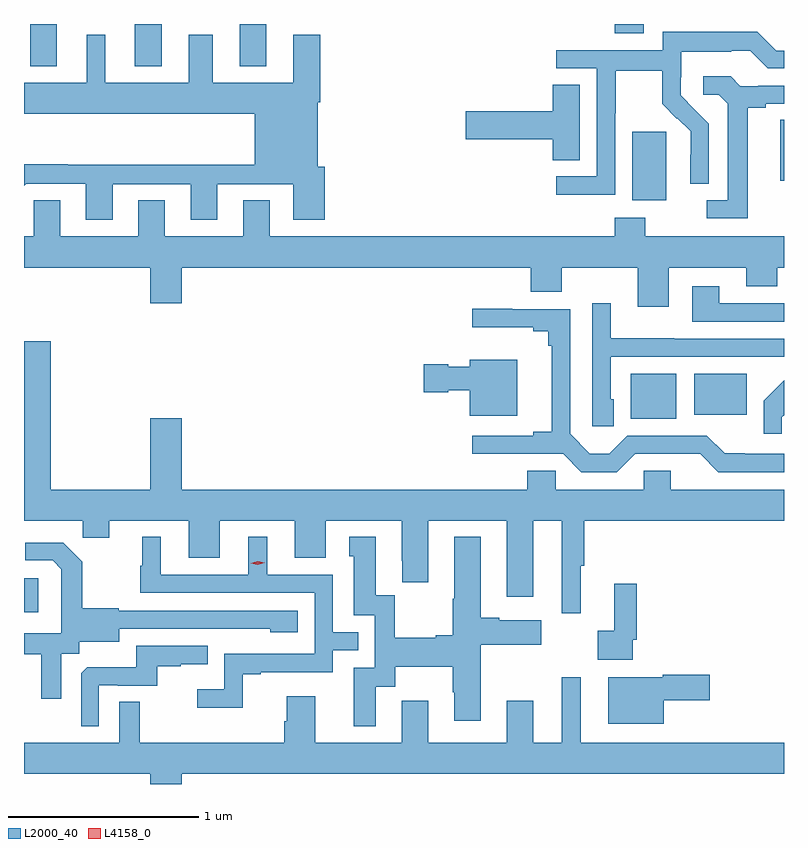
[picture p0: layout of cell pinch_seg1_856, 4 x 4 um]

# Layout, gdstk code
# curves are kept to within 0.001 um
import gdstk
lib = gdstk.Library(unit=1e-6, precision=1e-09)
def R(c, l, rs):  # rectangles x0, y0, x1, y1
    for r in rs: c.add(gdstk.rectangle(r[:2], r[2:], *l))
def A(c, l, x, y, w, h, nx, ny, dx, dy):  # array of equal rectangles
    R(c, l, [(x+i*dx, y+j*dy, x+i*dx+w, y+j*dy+h) for i in range(nx) for j in range(ny)])
def P(c, l, *ps):  # polygons
    for p in ps: c.add(gdstk.Polygon(p, *l))
L2000_40 = (2000, 40)
L4158_0 = (4158, 0)

pinch_seg1_856 = lib.new_cell('pinch_seg1_856')
A(pinch_seg1_856, L2000_40, 619.919, 530.147, 0.14, 0.223, 3, 1, 0.552, 0)
R(pinch_seg1_856, L2000_40, [(619.887,527.274,619.963,527.454), (623.081,528.293,623.32,528.529), (623.414,528.314,623.692,528.529), (623.087,529.442,623.266,529.803), (623.867,529.545,623.887,529.865), (622.997,530.321,623.149,530.37)])
P(pinch_seg1_856, L2000_40, [(622.998,529.9),(623.001,529.9),(623.001,530.124),(623.245,530.124),(623.245,529.949),(623.322,529.872),(623.325,529.875),(623.396,529.805),(623.396,529.682),(623.394,529.682),(623.394,529.528),(623.49,529.528),(623.49,529.846),(623.344,529.994),(623.344,530.091),(623.346,530.091),(623.346,530.225),(623.609,530.225),(623.609,530.229),(623.709,530.229),(623.802,530.136),(623.887,530.136),(623.887,530.229),(623.847,530.229),(623.747,530.329),(623.25,530.329),(623.25,530.232),(622.689,530.232),(622.689,530.136),(622.902,530.136),(622.902,529.569),(622.689,529.569),(622.689,529.471),(622.998,529.471)],
  [(620.353,529.527),(620.765,529.527),(620.765,529.341),(620.905,529.341),(620.905,529.527),(621.305,529.527),(621.305,529.341),(621.47,529.341),(621.47,529.62),(621.433,529.62),(621.433,529.958),(621.446,529.958),(621.446,530.314),(621.305,530.314),(621.305,530.062),(620.881,530.062),(620.881,530.314),(620.753,530.314),(620.753,530.062),(620.314,530.062),(620.314,530.314),(620.216,530.314),(620.216,530.062),(619.887,530.062),(619.887,529.898),(621.101,529.898),(621.101,529.628),(620.117,529.628),(620.117,529.631),(619.887,529.631),(619.887,529.518),(619.899,529.53),(620.213,529.53),(620.213,529.341),(620.353,529.341)],
  [(623.695,529.928),(623.791,529.928),(623.791,529.95),(623.887,529.95),(623.887,530.046),(623.752,530.046),(623.752,530.043),(623.658,530.043),(623.606,530.095),(623.463,530.095),(623.463,529.998),(623.544,529.998),(623.591,529.951),(623.591,529.443),(623.481,529.443),(623.481,529.347),(623.695,529.347)],
  [(622.813,530.051),(622.67,530.051),(622.67,529.91),(622.212,529.91),(622.212,529.763),(622.67,529.763),(622.67,529.654),(622.813,529.654)],
  [(623.281,529.088),(623.687,529.088),(623.687,528.989),(623.851,528.989),(623.851,529.088),(623.887,529.088),(623.887,529.252),(623.157,529.252),(623.157,529.351),(622.997,529.351),(622.997,529.252),(621.181,529.252),(621.181,529.442),(621.041,529.442),(621.041,529.252),(620.629,529.252),(620.629,529.442),(620.489,529.442),(620.489,529.252),(620.077,529.252),(620.077,529.442),(619.938,529.442),(619.938,529.252),(619.887,529.252),(619.887,529.088),(620.552,529.088),(620.552,528.9),(620.716,528.9),(620.716,529.088),(622.553,529.088),(622.553,528.96),(622.717,528.96),(622.717,529.088),(623.117,529.088),(623.117,528.882),(623.281,528.882)],
  [(623.887,528.9),(623.545,528.9),(623.545,528.991),(623.405,528.991),(623.405,528.804),(623.887,528.804)],
  [(622.99,528.396),(622.974,528.396),(622.974,528.618),(623.887,528.618),(623.887,528.714),(623.309,528.714),(623.309,528.715),(622.975,528.715),(622.975,528.901),(622.878,528.901),(622.878,528.253),(622.99,528.253)],
  [(623.103,528.108),(623.447,528.107),(623.541,528.012),(623.887,528.012),(623.887,528.108),(623.68,528.108),(623.68,528.11),(623.576,528.11),(623.481,528.204),(623.061,528.204),(622.966,528.109),(622.865,528.109),(622.761,528.213),(622.761,528.87),(622.457,528.87),(622.457,528.872),(622.245,528.872),(622.245,528.773),(622.568,528.773),(622.568,528.754),(622.645,528.754),(622.645,528.677),(622.664,528.677),(622.664,528.224),(622.568,528.224),(622.568,528.204),(622.245,528.204),(622.245,528.107),(622.724,528.108),(622.82,528.012),(623.007,528.012)],
  [(619.887,528.699),(619.887,527.756),(620.197,527.756),(620.197,527.666),(620.335,527.666),(620.335,527.756),(620.753,527.756),(620.753,527.562),(620.917,527.562),(620.917,527.756),(621.311,527.756),(621.311,527.562),(621.475,527.562),(621.475,527.756),(621.875,527.756),(621.875,527.545),(621.878,527.545),(621.878,527.433),(622.015,527.433),(622.015,527.756),(622.427,527.756),(622.427,527.355),(622.567,527.355),(622.567,527.756),(622.718,527.756),(622.718,527.268),(622.817,527.268),(622.817,527.52),(622.835,527.52),(622.835,527.756),(623.887,527.756),(623.887,527.92),(623.29,527.92),(623.29,528.018),(623.148,528.018),(623.148,527.92),(622.686,527.92),(622.686,528.018),(622.535,528.018),(622.535,527.92),(620.716,527.92),(620.716,528.295),(620.552,528.295),(620.552,527.92),(620.027,527.92),(620.027,528.699)],
  [(622.483,528.604),(622.232,528.604),(622.232,528.565),(622.119,528.565),(622.119,528.578),(621.99,528.578),(621.99,528.431),(622.119,528.431),(622.119,528.443),(622.232,528.443),(622.232,528.308),(622.483,528.308)],
  [(623.876,528.3),(623.887,528.311),(623.887,528.494),(623.781,528.388),(623.781,528.213),(623.876,528.213)],
  [(621.039,526.947),(621.133,526.947),(621.133,526.959),(621.513,526.959),(621.513,527.073),(621.647,527.073),(621.647,527.169),(621.513,527.169),(621.513,527.472),(621.166,527.472),(621.166,527.671),(621.068,527.671),(621.068,527.472),(620.608,527.472),(620.608,527.671),(620.51,527.671),(620.51,527.52),(620.499,527.52),(620.499,527.376),(621.417,527.376),(621.417,527.055),(620.94,527.055),(620.94,526.87),(620.799,526.87),(620.799,526.772),(621.039,526.772)],
  [(621.739,526.882),(621.841,526.882),(621.841,526.988),(622.144,526.988),(622.144,526.854),(622.151,526.854),(622.151,526.704),(622.291,526.704),(622.291,527.104),(622.609,527.104),(622.609,527.233),(622.387,527.233),(622.387,527.246),(622.291,527.246),(622.291,527.671),(622.151,527.671),(622.151,527.345),(622.144,527.345),(622.144,527.153),(622.055,527.153),(622.055,527.14),(621.837,527.14),(621.837,527.363),(621.739,527.363),(621.739,527.671),(621.599,527.671),(621.599,527.568),(621.623,527.568),(621.623,527.259),(621.732,527.259),(621.732,526.983),(621.623,526.983),(621.623,526.674),(621.739,526.674)],
  [(620.083,527.056),(620.178,527.056),(620.178,527.12),(620.389,527.12),(620.389,527.187),(621.183,527.186),(621.183,527.168),(621.328,527.168),(621.328,527.283),(620.385,527.283),(620.385,527.296),(620.193,527.296),(620.193,527.541),(620.093,527.641),(619.893,527.641),(619.893,527.547),(620.037,527.547),(620.084,527.5),(620.084,527.405),(620.082,527.405),(620.082,527.164),(619.887,527.164),(619.887,527.054),(619.979,527.054),(619.979,526.818),(620.083,526.818)],
  [(623.091,527.128),(623.111,527.128),(623.111,527.425),(622.994,527.425),(622.994,527.177),(622.908,527.177),(622.908,527.024),(623.091,527.024)],
  [(620.28,526.89),(620.38,526.89),(620.38,526.887),(620.588,526.887),(620.588,526.989),(620.711,526.989),(620.711,527),(620.855,527),(620.855,527.097),(620.478,527.097),(620.478,526.985),(620.219,526.985),(620.187,526.953),(620.187,526.673),(620.28,526.673)],
  [(623.254,526.811),(623.497,526.811),(623.497,526.946),(623.25,526.946),(623.25,526.933),(622.961,526.933),(622.961,526.688),(623.254,526.688)],
  [(623.887,526.588),(622.816,526.588),(622.816,526.933),(622.718,526.933),(622.718,526.588),(622.567,526.588),(622.567,526.807),(622.427,526.807),(622.427,526.588),(622.015,526.588),(622.015,526.807),(621.875,526.807),(621.875,526.588),(621.421,526.588),(621.421,526.831),(621.269,526.831),(621.269,526.701),(621.257,526.701),(621.257,526.588),(620.497,526.588),(620.497,526.802),(620.388,526.802),(620.388,526.588),(619.887,526.588),(619.887,526.424),(620.552,526.424),(620.552,526.37),(620.716,526.37),(620.716,526.424),(623.887,526.424)])
P(pinch_seg1_856, L4158_0, [(621.117,527.523),(621.081,527.532),(621.081,527.532),(621.081,527.532),(621.117,527.543),(621.153,527.535),(621.153,527.535),(621.153,527.534)])

lib.write_gds('pinch_seg1_856.gds')
